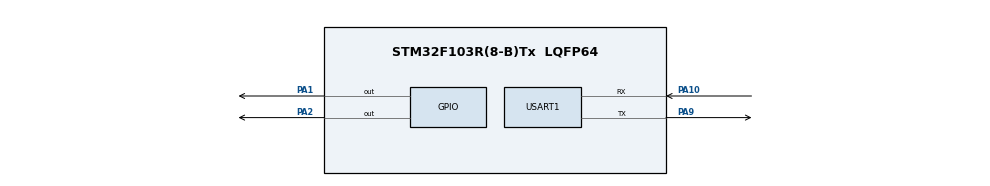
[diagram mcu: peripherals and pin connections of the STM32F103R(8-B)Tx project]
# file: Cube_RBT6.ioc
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Mcu.Family=STM32F1
Mcu.Name=STM32F103R(8-B)Tx
Mcu.Package=LQFP64
NVIC.PriorityGroup=NVIC_PRIORITYGROUP_4
PA1.Signal=GPIO_Output
PA10.Mode=Asynchronous
PA10.Signal=USART1_RX
PA2.Signal=GPIO_Output
PA9.Mode=Asynchronous
PA9.Signal=USART1_TX
ProjectManager.HeapSize=0x200
ProjectManager.StackSize=0x400
ProjectManager.TargetToolchain=Makefile
RCC.APB1Freq_Value=8000000
RCC.APB2Freq_Value=8000000
USART1.VirtualMode=VM_ASYNC
VP_SYS_VS_ND.Mode=No_Debug
board=Cube_RBT6

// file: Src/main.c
/**
  ******************************************************************************
  * @file           : main.c
  * @brief          : Main program body
  ******************************************************************************
  ** This notice applies to any and all portions of this file
  * that are not between comment pairs USER CODE BEGIN and
  * USER CODE END. Other portions of this file, whether
  * inserted by the user or by software development tools
  * are owned by their respective copyright owners.
  *
  * COPYRIGHT(c) 2018 STMicroelectronics
  *
  * Redistribution and use in source and binary forms, with or without modification,
  * are permitted provided that the following conditions are met:
  *   1. Redistributions of source code must retain the above copyright notice,
  *      this list of conditions and the following disclaimer.
  *   2. Redistributions in binary form must reproduce the above copyright notice,
  *      this list of conditions and the following disclaimer in the documentation
  *      and/or other materials provided with the distribution.
  *   3. Neither the name of STMicroelectronics nor the names of its contributors
  *      may be used to endorse or promote products derived from this software
  *      without specific prior written permission.
  *
  * THIS SOFTWARE IS PROVIDED BY THE COPYRIGHT HOLDERS AND CONTRIBUTORS "AS IS"
  * AND ANY EXPRESS OR IMPLIED WARRANTIES, INCLUDING, BUT NOT LIMITED TO, THE
  * IMPLIED WARRANTIES OF MERCHANTABILITY AND FITNESS FOR A PARTICULAR PURPOSE ARE
  * DISCLAIMED. IN NO EVENT SHALL THE COPYRIGHT HOLDER OR CONTRIBUTORS BE LIABLE
  * FOR ANY DIRECT, INDIRECT, INCIDENTAL, SPECIAL, EXEMPLARY, OR CONSEQUENTIAL
  * DAMAGES (INCLUDING, BUT NOT LIMITED TO, PROCUREMENT OF SUBSTITUTE GOODS OR
  * SERVICES; LOSS OF USE, DATA, OR PROFITS; OR BUSINESS INTERRUPTION) HOWEVER
  * CAUSED AND ON ANY THEORY OF LIABILITY, WHETHER IN CONTRACT, STRICT LIABILITY,
  * OR TORT (INCLUDING NEGLIGENCE OR OTHERWISE) ARISING IN ANY WAY OUT OF THE USE
  * OF THIS SOFTWARE, EVEN IF ADVISED OF THE POSSIBILITY OF SUCH DAMAGE.
  *
  ******************************************************************************
  */
#include "main.h"
#include "stm32f1xx_hal.h"

/* USER CODE BEGIN Includes */
#include <stdio.h>
#include "os.h"
#include "debug.h"
/* USER CODE END Includes */

UART_HandleTypeDef huart1;

/* USER CODE BEGIN PV */
/* Private variables ---------------------------------------------------------*/

/* USER CODE END PV */

void SystemClock_Config(void);
static void MX_GPIO_Init(void);
static void MX_USART1_UART_Init(void);

/* USER CODE BEGIN PFP */
/* Private function prototypes -----------------------------------------------*/
#ifdef __GNUC__
  /* With GCC/RAISONANCE, small printf (option LD Linker->Libraries->Small printf
     set to 'Yes') calls __io_putchar() */
  #define PUTCHAR_PROTOTYPE int __io_putchar(int ch)
#else
  #define PUTCHAR_PROTOTYPE int fputc(int ch, FILE *f)
#endif /* __GNUC__ */
/* USER CODE END PFP */

/* USER CODE BEGIN 0 */
void* taskA()
{
  //logger(&huart1, "Task1_Run\n");
	for (;;) {
		HAL_GPIO_WritePin(GPIOA, GPIO_PIN_1, GPIO_PIN_RESET);
		os_setTaskDelay(13);
		HAL_GPIO_WritePin(GPIOA, GPIO_PIN_1, GPIO_PIN_SET);
	}
}

void* taskB()
{
  //logger(&huart1, "Task2_Run\n");
	for (;;) {
		HAL_GPIO_WritePin(GPIOA, GPIO_PIN_2, GPIO_PIN_RESET);
		os_setTaskDelay(23);
		HAL_GPIO_WritePin(GPIOA, GPIO_PIN_2, GPIO_PIN_SET);
	}
}
/* USER CODE END 0 */

int main(void)
{

  /* MCU Configuration----------------------------------------------------------*/

  /* Reset of all peripherals, Initializes the Flash interface and the Systick. */
  HAL_Init();

  /* Configure the system clock */
  SystemClock_Config();

  /* Initialize all configured peripherals */
  MX_GPIO_Init();
  MX_USART1_UART_Init();
  /* USER CODE BEGIN 2 */
  //HAL_Delay(5000);
  //logger(&huart1, "HW\n");
  //printf("fuck\n");
  HAL_GPIO_WritePin(GPIOA, GPIO_PIN_1, GPIO_PIN_SET);
  HAL_GPIO_WritePin(GPIOA, GPIO_PIN_2, GPIO_PIN_SET);

  os_enterCritical();
  os_pre();
  os_createTask(taskA);
  os_createTask(taskB);
  osStart();
  /* USER CODE END 2 */

  /* Infinite loop */
  while (1)
  {

  }

}

void SystemClock_Config(void)
{

  RCC_OscInitTypeDef RCC_OscInitStruct;
  RCC_ClkInitTypeDef RCC_ClkInitStruct;

    /**Initializes the CPU, AHB and APB busses clocks
    */
  RCC_OscInitStruct.OscillatorType = RCC_OSCILLATORTYPE_HSI;
  RCC_OscInitStruct.HSIState = RCC_HSI_ON;
  RCC_OscInitStruct.HSICalibrationValue = 16;
  RCC_OscInitStruct.PLL.PLLState = RCC_PLL_NONE;
  if (HAL_RCC_OscConfig(&RCC_OscInitStruct) != HAL_OK)
  {
    _Error_Handler(__FILE__, __LINE__);
  }

    /**Initializes the CPU, AHB and APB busses clocks
    */
  RCC_ClkInitStruct.ClockType = RCC_CLOCKTYPE_HCLK|RCC_CLOCKTYPE_SYSCLK
                              |RCC_CLOCKTYPE_PCLK1|RCC_CLOCKTYPE_PCLK2;
  RCC_ClkInitStruct.SYSCLKSource = RCC_SYSCLKSOURCE_HSI;
  RCC_ClkInitStruct.AHBCLKDivider = RCC_SYSCLK_DIV1;
  RCC_ClkInitStruct.APB1CLKDivider = RCC_HCLK_DIV1;
  RCC_ClkInitStruct.APB2CLKDivider = RCC_HCLK_DIV1;

  if (HAL_RCC_ClockConfig(&RCC_ClkInitStruct, FLASH_LATENCY_0) != HAL_OK)
  {
    _Error_Handler(__FILE__, __LINE__);
  }

    /**Configure the Systick interrupt time
    */
  HAL_SYSTICK_Config(HAL_RCC_GetHCLKFreq()/1000);

    /**Configure the Systick
    */
  HAL_SYSTICK_CLKSourceConfig(SYSTICK_CLKSOURCE_HCLK);

  /* SysTick_IRQn interrupt configuration */
  HAL_NVIC_SetPriority(SysTick_IRQn, 0, 0);
}

/* USART1 init function */
static void MX_USART1_UART_Init(void)
{

  huart1.Instance = USART1;
  huart1.Init.BaudRate = 115200;
  huart1.Init.WordLength = UART_WORDLENGTH_8B;
  huart1.Init.StopBits = UART_STOPBITS_1;
  huart1.Init.Parity = UART_PARITY_NONE;
  huart1.Init.Mode = UART_MODE_TX_RX;
  huart1.Init.HwFlowCtl = UART_HWCONTROL_NONE;
  huart1.Init.OverSampling = UART_OVERSAMPLING_16;
  if (HAL_UART_Init(&huart1) != HAL_OK)
  {
    _Error_Handler(__FILE__, __LINE__);
  }

}

/** Configure pins as
        * Analog
        * Input
        * Output
        * EVENT_OUT
        * EXTI
*/
static void MX_GPIO_Init(void)
{

  GPIO_InitTypeDef GPIO_InitStruct;

  /* GPIO Ports Clock Enable */
  __HAL_RCC_GPIOA_CLK_ENABLE();

  /*Configure GPIO pin Output Level */
  HAL_GPIO_WritePin(GPIOA, GPIO_PIN_1|GPIO_PIN_2, GPIO_PIN_RESET);

  /*Configure GPIO pins : PA1 PA2 */
  GPIO_InitStruct.Pin = GPIO_PIN_1|GPIO_PIN_2;
  GPIO_InitStruct.Mode = GPIO_MODE_OUTPUT_PP;
  GPIO_InitStruct.Speed = GPIO_SPEED_FREQ_LOW;
  HAL_GPIO_Init(GPIOA, &GPIO_InitStruct);

}

/* USER CODE BEGIN 4 */
/**
  * @brief  Retargets the C library printf function to the USART.
  * @param  None
  * @retval None
  */
PUTCHAR_PROTOTYPE
{
  /* Place your implementation of fputc here 执行*/
  /* e.g. write a character to the EVAL_COM1 and Loop until the end of transmission */
  HAL_UART_Transmit(&huart1, (uint8_t *)&ch, 1, 0xFFFF);

  return ch;
}
/* USER CODE END 4 */

void _Error_Handler(char *file, int line)
{
  while(1)
  {
  }
}

/************************ (C) COPYRIGHT STMicroelectronics *****END OF FILE****/
